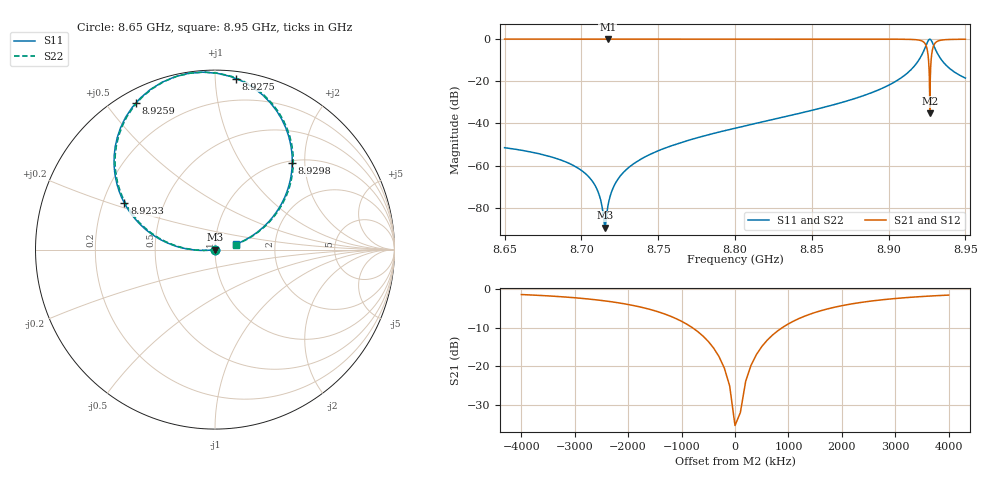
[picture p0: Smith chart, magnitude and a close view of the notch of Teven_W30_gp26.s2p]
! Sonnet Data File
! From: emgraph Version : 16.52
! From Project: transmon_trial
! Data is De-embedded
! Data File Written: 10/20/2017 09:13:08
!< HDATE 10/19/2017 20:03:37
!< MDATE 10/19/2017 20:10:25
!< PARAMS
!< Lj = 15.24
!< Gap = 26.0
!< Width = 30.0
!< Airgap = 18.0
!< Pwidth = 2000.0
!< END PARAMS
# GHZ S MA R 51.00000
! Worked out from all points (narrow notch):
!   3001 points, 8.65 GHz to 8.95 GHz, reference 51 ohm
!   highest |S21| = 0.00 dB at 8.7171 GHz (marker M1); lowest = -35.3 dB at 8.9268 GHz (marker M2)
!   notch at M2: 35.3 dB deep, 667 kHz wide at half that depth
!   lowest |S11| = -89.4 dB at 8.7153 GHz (marker M3), VSWR 1.00, Z = 51 + j0.00341 ohm
!   |S11| at or under -10 dB: start of sweep to 8.9196 GHz; 8.934591 GHz to end of sweep
!   |S22| runs from -91.2 to -0.1 dB; largest |S21 - S12| = 0
!   S11 on the Smith chart (normalised r, x): 8.65 GHz: 1.01, +0.00; 8.9233 GHz: 0.29, +0.22; 8.9259 GHz: 0.05, +0.60; 8.9275 GHz: 0.05, +1.13; 8.9298 GHz: 1.04, +1.73; 8.95 GHz: 1.26, +0.08
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8.65  0.002657 11.1  1 -80.0  1 -80.0  0.002657 9.1
!< P1 F=8.65 Eeff=(6.44482017 -3.0292e-5) Z0=(50.6172123 1.12884e-4) R=0.0 C=0.0
!< P2 F=8.65 Eeff=(6.44482017 -3.0292e-5) Z0=(50.6172123 1.12884e-4) R=0.0 C=0.0
8.6808  0.001589 11.2  1 -80.3  1 -80.3  0.001589 8.4
8.7  0.0007681 12.3  1 -80.5  1 -80.5  0.0007678 7.1
8.708  0.0003824 14.7  1 -80.6  1 -80.6  0.0003819 4.9
8.7153  3.369e-05 96.5  1 -80.7  1 -80.7  2.749e-05 -77.3
8.7171  0.0001016 170.2  1 -80.7  1 -80.7  9.972e-05 -155.1
8.7214  0.000338 -176.2  1 -80.8  1 -80.8  0.0003375 -166.5
8.7272  0.0006786 -173.4  1 -80.9  1 -80.9  0.0006783 -168.9
8.75  0.002244 -171.7  1 -81.2  1 -81.2  0.002244 -170.8
8.8  0.007702 -171.9  1 -81.9  1 -81.9  0.007702 -172.1
8.85  0.02038 -172.9  0.9998 -83.1  0.9998 -83.1  0.02038 -173.4
8.9  0.08043 -176.8  0.9967 -87.0  0.9967 -87.0  0.08043 -177.4
8.918  0.2602 172.5  0.965 -97.7  0.965 -97.7  0.2602 171.9
8.9233  0.5675 152.8  0.8205 -117.2  0.8205 -117.2  0.5675 152.2
8.9247  0.7521 138.4  0.6527 -131.4  0.6527 -131.4  0.7521 137.8
8.9259  0.9293 118.3  0.3521 -151.0  0.3521 -151.0  0.9293 117.6
8.9268  0.9928 98.6  0.01718 -147.5  0.01718 -147.5  0.9928 97.9
8.9275  0.9604 82.9  0.254 -8.9  0.254 -8.9  0.9604 82.3
8.9298  0.6474 48.3  0.7584 -42.4  0.7584 -42.4  0.6474 47.6
8.932  0.443 34.1  0.895 -56.4  0.895 -56.4  0.443 33.4
8.9351  0.2992 25.1  0.9536 -65.3  0.9536 -65.3  0.2992 24.4
8.95  0.1189 14.3  0.9928 -76.1  0.9928 -76.1  0.1189 13.6
